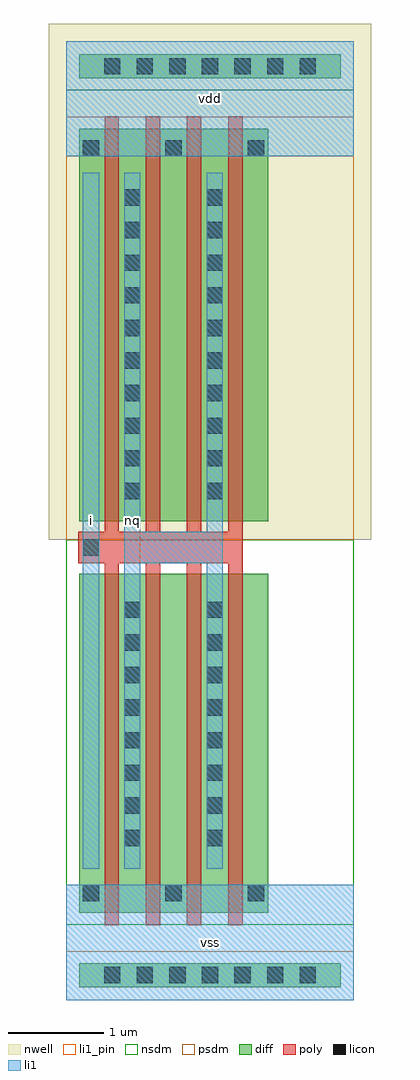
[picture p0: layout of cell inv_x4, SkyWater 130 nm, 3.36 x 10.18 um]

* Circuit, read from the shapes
.subckt inv_x4 i nq vdd vss
XM1 nq i vss VSUBS sky130_fd_pr__nfet_01v8 w=3.535 l=0.15 m=4
XM2 nq i vdd n1 sky130_fd_pr__pfet_01v8 w=4.095 l=0.15 m=4
.ends

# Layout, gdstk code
import gdstk
lib = gdstk.Library(unit=1e-6, precision=1e-09)
def R(c, l, rs):  # rectangles x0, y0, x1, y1
    for r in rs: c.add(gdstk.rectangle(r[:2], r[2:], *l))
def A(c, l, x, y, w, h, nx, ny, dx, dy):  # array of equal rectangles
    R(c, l, [(x+i*dx, y+j*dy, x+i*dx+w, y+j*dy+h) for i in range(nx) for j in range(ny)])
def P(c, l, *ps):  # polygons
    for p in ps: c.add(gdstk.Polygon(p, *l))
nwell = (64, 20)
diff = (65, 20)
poly = (66, 20)
licon = (66, 44)
li1_pin = (67, 16)
li1 = (67, 20)
nsdm = (93, 44)
psdm = (94, 20)

inv_x4 = lib.new_cell('inv_x4')
R(inv_x4, nwell, [(-0.18,4.8,3.18,10.18)])
R(inv_x4, diff, [(0.135,0.135,2.865,0.385), (0.135,0.91,2.105,4.445), (0.135,4.995,2.105,9.09), (0.135,9.615,2.865,9.865)])
P(inv_x4, poly, [(0.4,0.78),(0.4,4.555),(0.125,4.555),(0.125,4.885),(0.4,4.885),(0.4,9.22),(0.55,9.22),(0.55,4.885),(0.83,4.885),(0.83,9.22),(0.98,9.22),(0.98,4.885),(1.26,4.885),(1.26,9.22),(1.41,9.22),(1.41,4.885),(1.69,4.885),(1.69,9.22),(1.84,9.22),(1.84,0.78),(1.69,0.78),(1.69,4.555),(1.41,4.555),(1.41,0.78),(1.26,0.78),(1.26,4.555),(0.98,4.555),(0.98,0.78),(0.83,0.78),(0.83,4.555),(0.55,4.555),(0.55,0.78)])
A(inv_x4, licon, 0.395, 0.175, 0.17, 0.17, 7, 2, 0.34, 9.48)
A(inv_x4, licon, 0.175, 1.03, 0.17, 0.17, 3, 2, 0.86, 7.77)
A(inv_x4, licon, 0.605, 1.605, 0.17, 0.17, 1, 8, 0, 0.34)
A(inv_x4, licon, 1.465, 1.605, 0.17, 0.17, 1, 8, 0, 0.34)
A(inv_x4, licon, 0.605, 5.225, 0.17, 0.17, 1, 10, 0, 0.34)
A(inv_x4, licon, 1.465, 5.225, 0.17, 0.17, 1, 10, 0, 0.34)
R(inv_x4, licon, [(0.175,4.635,0.345,4.805)])
R(inv_x4, li1_pin, [(0,0,3,1.2), (0.175,1.37,0.345,8.63), (0.605,1.37,0.775,8.63), (0,8.8,3,10)])
R(inv_x4, li1, [(0,0,3,1.2), (0.175,1.37,0.345,8.63), (0,8.8,3,10)])
P(inv_x4, li1, [(0.605,1.37),(0.605,8.63),(0.775,8.63),(0.775,4.885),(1.465,4.885),(1.465,8.63),(1.635,8.63),(1.635,1.37),(1.465,1.37),(1.465,4.555),(0.775,4.555),(0.775,1.37)])
R(inv_x4, nsdm, [(0,0.785,3,4.8), (0,9.49,3,10)])
R(inv_x4, psdm, [(0,0,3,0.51), (0,4.8,3,9.215)])
inv_x4.add(gdstk.Label('vss', (1.5,0.6), layer=67, texttype=16))
inv_x4.add(gdstk.Label('vdd', (1.5,9.4), layer=67, texttype=16))
inv_x4.add(gdstk.Label('nq', (0.69,5), layer=67, texttype=16))
inv_x4.add(gdstk.Label('i', (0.26,5), layer=67, texttype=16))

lib.write_gds('inv_x4.gds')
